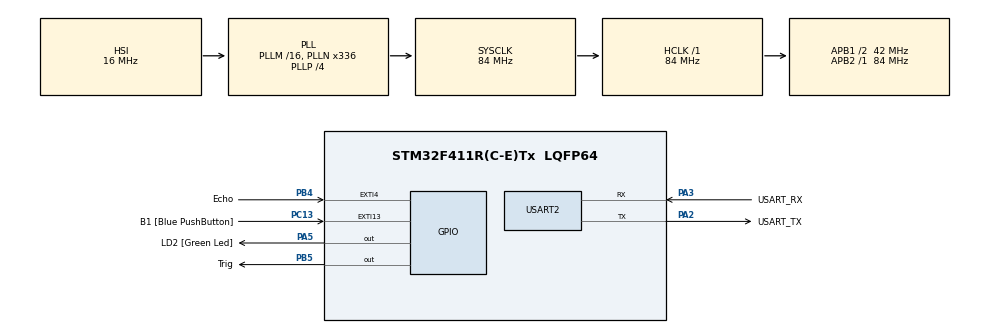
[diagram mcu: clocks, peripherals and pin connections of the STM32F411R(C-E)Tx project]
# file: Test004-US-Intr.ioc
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Mcu.Family=STM32F4
Mcu.Name=STM32F411R(C-E)Tx
Mcu.Package=LQFP64
NVIC.EXTI4_IRQn=true\:0\:0\:false\:false\:true\:true\:true\:true
NVIC.PriorityGroup=NVIC_PRIORITYGROUP_0
NVIC.TIM3_IRQn=true\:0\:0\:false\:false\:true\:true\:true\:true
PA13.GPIO_Label=TMS
PA13.Mode=Serial_Wire
PA13.Signal=SYS_JTMS-SWDIO
PA14.GPIO_Label=TCK
PA14.Mode=Serial_Wire
PA14.Signal=SYS_JTCK-SWCLK
PA2.GPIO_Label=USART_TX
PA2.Mode=Asynchronous
PA2.Signal=USART2_TX
PA3.GPIO_Label=USART_RX
PA3.Mode=Asynchronous
PA3.Signal=USART2_RX
PA5.GPIO_Label=LD2 [Green Led]
PA5.Signal=GPIO_Output
PB3.GPIO_Label=SWO
PB3.Signal=SYS_JTDO-SWO
PB4.GPIO_Label=Echo
PB4.GPIO_ModeDefaultEXTI=GPIO_MODE_IT_RISING_FALLING
PB4.Signal=GPXTI4
PB5.GPIO_Label=Trig
PB5.Signal=GPIO_Output
PC13-ANTI_TAMP.GPIO_Label=B1 [Blue PushButton]
PC13-ANTI_TAMP.GPIO_ModeDefaultEXTI=GPIO_MODE_IT_FALLING
PC13-ANTI_TAMP.Signal=GPXTI13
PC14-OSC32_IN.Mode=LSE-External-Oscillator
PC14-OSC32_IN.Signal=RCC_OSC32_IN
PC15-OSC32_OUT.Mode=LSE-External-Oscillator
PC15-OSC32_OUT.Signal=RCC_OSC32_OUT
PH0\ -\ OSC_IN.Mode=HSE-External-Clock-Source
PH0\ -\ OSC_IN.Signal=RCC_OSC_IN
PH1\ -\ OSC_OUT.Mode=HSE-External-Clock-Source
PH1\ -\ OSC_OUT.Signal=RCC_OSC_OUT
ProjectManager.HeapSize=0x200
ProjectManager.StackSize=0x400
ProjectManager.TargetToolchain=STM32CubeIDE
RCC.48MHZClocksFreq_Value=84000000
RCC.AHBFreq_Value=84000000
RCC.APB1CLKDivider=RCC_HCLK_DIV2
RCC.APB1Freq_Value=42000000
RCC.APB1TimFreq_Value=84000000
RCC.APB2Freq_Value=84000000
RCC.APB2TimFreq_Value=84000000
RCC.CortexFreq_Value=84000000
RCC.FLatency-AdvancedSettings=FLASH_LATENCY_2
RCC.HCLKFreq_Value=84000000
RCC.HSE_VALUE=8000000
RCC.HSI_VALUE=16000000
RCC.PLLN=336
RCC.PLLP=RCC_PLLP_DIV4
RCC.SYSCLKFreq_VALUE=84000000
RCC.SYSCLKSource=RCC_SYSCLKSOURCE_PLLCLK
RCC.VCOOutputFreq_Value=336000000
TIM3.Period=10000-1
TIM3.Prescaler=560-1
TIM5.Prescaler=84-1
USART2.VirtualMode=VM_ASYNC
VP_TIM3_VS_ClockSourceINT.Mode=Internal
VP_TIM5_VS_ClockSourceINT.Mode=Internal
board=NUCLEO-F411RE

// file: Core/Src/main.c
/* USER CODE BEGIN Header */
/**
  ******************************************************************************
  * @file           : main.c
  * @brief          : Main program body
  ******************************************************************************
  * @attention
  *
  * Copyright (c) 2024 STMicroelectronics.
  * All rights reserved.
  *
  * This software is licensed under terms that can be found in the LICENSE file
  * in the root directory of this software component.
  * If no LICENSE file comes with this software, it is provided AS-IS.
  *
  ******************************************************************************
  */
/* USER CODE END Header */
#include "main.h"

TIM_HandleTypeDef htim3;
TIM_HandleTypeDef htim5;

UART_HandleTypeDef huart2;

void SystemClock_Config(void);
static void MX_GPIO_Init(void);
static void MX_USART2_UART_Init(void);
static void MX_TIM3_Init(void);
static void MX_TIM5_Init(void);

/* USER CODE BEGIN 0 */
void microDelay(int us)
{
	/*int t1 = htim5.Instance->CNT;
	//while(1)
	//{
	//	int tmp_us = htim5.Instance->CNT - t1; // 경과?���???????
	//	if(tmp_us > us) break;
	//}
	while((htim5.Instance->CNT - t1) < us);*/

	htim5.Instance->CNT = 0;
	while(htim5.Instance->CNT < us);
}

void Trigger()
{
	// Trigger Signal
	HAL_GPIO_WritePin(Trig_GPIO_Port, Trig_Pin, 1);
	microDelay(10);  // 10us delay
	HAL_GPIO_WritePin(Trig_GPIO_Port, Trig_Pin, 0);
	microDelay(20);  // 20us delay
}
int ts = 0;
double dist = 0.0;
void HAL_GPIO_EXTI_Callback(uint16_t GPIO_Pin)
{
	if(GPIO_Pin == Echo_Pin)
	{
		int tt = htim5.Instance->CNT;  // micro count

		if(HAL_GPIO_ReadPin(Echo_GPIO_Port, Echo_Pin) == 1) //rising edge
			ts = tt;
		else
			dist = (tt - ts) * (0.000170); // meter
	}
}
void HAL_TIM_PeriodElapsedCallback(TIM_HandleTypeDef *htim)
{
	if(htim == &htim3)  // htim3 ISR
	{
		Trigger();
	}
}
/* USER CODE END 0 */

int main(void)
{

  /* MCU Configuration--------------------------------------------------------*/

  /* Reset of all peripherals, Initializes the Flash interface and the Systick. */
  HAL_Init();

  /* Configure the system clock */
  SystemClock_Config();

  /* Initialize all configured peripherals */
  MX_GPIO_Init();
  MX_USART2_UART_Init();
  MX_TIM3_Init();
  MX_TIM5_Init();
  /* USER CODE BEGIN 2 */

  printf("i:%d l:%d f:%d d:%d\n",sizeof(int),sizeof(long),sizeof(float),sizeof(double));
  ProgramStart("Ultra Sonic using Interrupt");
  HAL_TIM_Base_Start(&htim5);
  HAL_TIM_Base_Start_IT(&htim3);
  /* USER CODE END 2 */

  /* Infinite loop */
  while (1)
  {

    /* USER CODE BEGIN 3 */
	  double d = dist*100;//Distance();
	  //printf("\033[2J");		// screen clear
	  //printf("\033[?25l");	// cursor off
	  //printf("\033[?25h");	// cursor on
	  //printf("\033[A");		// cursor up
	  //printf("\033#3");		// double size string upper half
	  //printf("\033#4");		// double size string lower half
	  printf("\033[10;10H\033#3Distance : %.2f cm    ", d);
	  printf("\033[11;10H\033#4Distance : %.2f cm    \033[9;10H\n", d);
	  //microDelay(100000); // 10ms
	  HAL_Delay(100);
  }
  /* USER CODE END 3 */
}

void SystemClock_Config(void)
{
  RCC_OscInitTypeDef RCC_OscInitStruct = {0};
  RCC_ClkInitTypeDef RCC_ClkInitStruct = {0};

  /** Configure the main internal regulator output voltage
  */
  __HAL_RCC_PWR_CLK_ENABLE();
  __HAL_PWR_VOLTAGESCALING_CONFIG(PWR_REGULATOR_VOLTAGE_SCALE1);

  /** Initializes the RCC Oscillators according to the specified parameters
  * in the RCC_OscInitTypeDef structure.
  */
  RCC_OscInitStruct.OscillatorType = RCC_OSCILLATORTYPE_HSI;
  RCC_OscInitStruct.HSIState = RCC_HSI_ON;
  RCC_OscInitStruct.HSICalibrationValue = RCC_HSICALIBRATION_DEFAULT;
  RCC_OscInitStruct.PLL.PLLState = RCC_PLL_ON;
  RCC_OscInitStruct.PLL.PLLSource = RCC_PLLSOURCE_HSI;
  RCC_OscInitStruct.PLL.PLLM = 16;
  RCC_OscInitStruct.PLL.PLLN = 336;
  RCC_OscInitStruct.PLL.PLLP = RCC_PLLP_DIV4;
  RCC_OscInitStruct.PLL.PLLQ = 4;
  if (HAL_RCC_OscConfig(&RCC_OscInitStruct) != HAL_OK)
  {
    Error_Handler();
  }

  /** Initializes the CPU, AHB and APB buses clocks
  */
  RCC_ClkInitStruct.ClockType = RCC_CLOCKTYPE_HCLK|RCC_CLOCKTYPE_SYSCLK
                              |RCC_CLOCKTYPE_PCLK1|RCC_CLOCKTYPE_PCLK2;
  RCC_ClkInitStruct.SYSCLKSource = RCC_SYSCLKSOURCE_PLLCLK;
  RCC_ClkInitStruct.AHBCLKDivider = RCC_SYSCLK_DIV1;
  RCC_ClkInitStruct.APB1CLKDivider = RCC_HCLK_DIV2;
  RCC_ClkInitStruct.APB2CLKDivider = RCC_HCLK_DIV1;

  if (HAL_RCC_ClockConfig(&RCC_ClkInitStruct, FLASH_LATENCY_2) != HAL_OK)
  {
    Error_Handler();
  }
}

static void MX_TIM3_Init(void)
{

  TIM_ClockConfigTypeDef sClockSourceConfig = {0};
  TIM_MasterConfigTypeDef sMasterConfig = {0};

  htim3.Instance = TIM3;
  htim3.Init.Prescaler = 560-1;
  htim3.Init.CounterMode = TIM_COUNTERMODE_UP;
  htim3.Init.Period = 10000-1;
  htim3.Init.ClockDivision = TIM_CLOCKDIVISION_DIV1;
  htim3.Init.AutoReloadPreload = TIM_AUTORELOAD_PRELOAD_DISABLE;
  if (HAL_TIM_Base_Init(&htim3) != HAL_OK)
  {
    Error_Handler();
  }
  sClockSourceConfig.ClockSource = TIM_CLOCKSOURCE_INTERNAL;
  if (HAL_TIM_ConfigClockSource(&htim3, &sClockSourceConfig) != HAL_OK)
  {
    Error_Handler();
  }
  sMasterConfig.MasterOutputTrigger = TIM_TRGO_RESET;
  sMasterConfig.MasterSlaveMode = TIM_MASTERSLAVEMODE_DISABLE;
  if (HAL_TIMEx_MasterConfigSynchronization(&htim3, &sMasterConfig) != HAL_OK)
  {
    Error_Handler();
  }

}

static void MX_TIM5_Init(void)
{

  TIM_ClockConfigTypeDef sClockSourceConfig = {0};
  TIM_MasterConfigTypeDef sMasterConfig = {0};

  htim5.Instance = TIM5;
  htim5.Init.Prescaler = 84-1;
  htim5.Init.CounterMode = TIM_COUNTERMODE_UP;
  htim5.Init.Period = 4294967295;
  htim5.Init.ClockDivision = TIM_CLOCKDIVISION_DIV1;
  htim5.Init.AutoReloadPreload = TIM_AUTORELOAD_PRELOAD_DISABLE;
  if (HAL_TIM_Base_Init(&htim5) != HAL_OK)
  {
    Error_Handler();
  }
  sClockSourceConfig.ClockSource = TIM_CLOCKSOURCE_INTERNAL;
  if (HAL_TIM_ConfigClockSource(&htim5, &sClockSourceConfig) != HAL_OK)
  {
    Error_Handler();
  }
  sMasterConfig.MasterOutputTrigger = TIM_TRGO_RESET;
  sMasterConfig.MasterSlaveMode = TIM_MASTERSLAVEMODE_DISABLE;
  if (HAL_TIMEx_MasterConfigSynchronization(&htim5, &sMasterConfig) != HAL_OK)
  {
    Error_Handler();
  }

}

static void MX_USART2_UART_Init(void)
{

  huart2.Instance = USART2;
  huart2.Init.BaudRate = 115200;
  huart2.Init.WordLength = UART_WORDLENGTH_8B;
  huart2.Init.StopBits = UART_STOPBITS_1;
  huart2.Init.Parity = UART_PARITY_NONE;
  huart2.Init.Mode = UART_MODE_TX_RX;
  huart2.Init.HwFlowCtl = UART_HWCONTROL_NONE;
  huart2.Init.OverSampling = UART_OVERSAMPLING_16;
  if (HAL_UART_Init(&huart2) != HAL_OK)
  {
    Error_Handler();
  }

}

static void MX_GPIO_Init(void)
{
  GPIO_InitTypeDef GPIO_InitStruct = {0};

  /* GPIO Ports Clock Enable */
  __HAL_RCC_GPIOC_CLK_ENABLE();
  __HAL_RCC_GPIOH_CLK_ENABLE();
  __HAL_RCC_GPIOA_CLK_ENABLE();
  __HAL_RCC_GPIOB_CLK_ENABLE();

  /*Configure GPIO pin Output Level */
  HAL_GPIO_WritePin(LD2_GPIO_Port, LD2_Pin, GPIO_PIN_RESET);

  /*Configure GPIO pin Output Level */
  HAL_GPIO_WritePin(Trig_GPIO_Port, Trig_Pin, GPIO_PIN_RESET);

  /*Configure GPIO pin : B1_Pin */
  GPIO_InitStruct.Pin = B1_Pin;
  GPIO_InitStruct.Mode = GPIO_MODE_IT_FALLING;
  GPIO_InitStruct.Pull = GPIO_NOPULL;
  HAL_GPIO_Init(B1_GPIO_Port, &GPIO_InitStruct);

  /*Configure GPIO pin : LD2_Pin */
  GPIO_InitStruct.Pin = LD2_Pin;
  GPIO_InitStruct.Mode = GPIO_MODE_OUTPUT_PP;
  GPIO_InitStruct.Pull = GPIO_NOPULL;
  GPIO_InitStruct.Speed = GPIO_SPEED_FREQ_LOW;
  HAL_GPIO_Init(LD2_GPIO_Port, &GPIO_InitStruct);

  /*Configure GPIO pin : Echo_Pin */
  GPIO_InitStruct.Pin = Echo_Pin;
  GPIO_InitStruct.Mode = GPIO_MODE_IT_RISING_FALLING;
  GPIO_InitStruct.Pull = GPIO_NOPULL;
  HAL_GPIO_Init(Echo_GPIO_Port, &GPIO_InitStruct);

  /*Configure GPIO pin : Trig_Pin */
  GPIO_InitStruct.Pin = Trig_Pin;
  GPIO_InitStruct.Mode = GPIO_MODE_OUTPUT_PP;
  GPIO_InitStruct.Pull = GPIO_NOPULL;
  GPIO_InitStruct.Speed = GPIO_SPEED_FREQ_LOW;
  HAL_GPIO_Init(Trig_GPIO_Port, &GPIO_InitStruct);

  /* EXTI interrupt init*/
  HAL_NVIC_SetPriority(EXTI4_IRQn, 0, 0);
  HAL_NVIC_EnableIRQ(EXTI4_IRQn);

}

void Error_Handler(void)
{
  __disable_irq();
  while (1)
  {
  }
}
